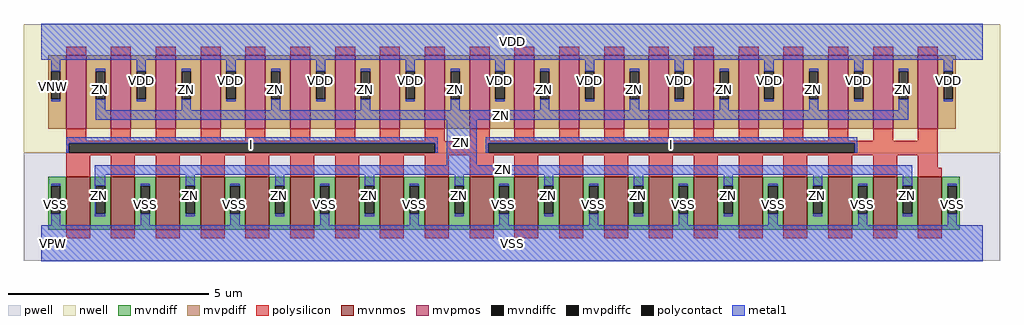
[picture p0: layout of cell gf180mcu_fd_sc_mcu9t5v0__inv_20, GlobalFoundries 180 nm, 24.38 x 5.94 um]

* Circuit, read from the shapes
.subckt gf180mcu_fd_sc_mcu9t5v0__inv_20 I ZN VDD VNW VPW VSS
XM1 ZN I VSS VPW nfet_06v0 w=1.32u l=0.6u m=20
XM2 ZN I VDD VNW pfet_06v0 w=1.83u l=0.5u m=20
.ends

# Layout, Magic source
magic
tech gf180mcuD
magscale 1 10
<< nwell >>
rect -86 453 4790 1094
<< pwell >>
rect -86 -86 4790 453
<< mvnmos >>
rect 124 69 244 333
rect 348 69 468 333
rect 572 69 692 333
rect 796 69 916 333
rect 1020 69 1140 333
rect 1244 69 1364 333
rect 1468 69 1588 333
rect 1692 69 1812 333
rect 1916 69 2036 333
rect 2140 69 2260 333
rect 2364 69 2484 333
rect 2588 69 2708 333
rect 2812 69 2932 333
rect 3036 69 3156 333
rect 3260 69 3380 333
rect 3484 69 3604 333
rect 3708 69 3828 333
rect 3932 69 4052 333
rect 4156 69 4276 333
rect 4380 69 4500 333
<< mvpmos >>
rect 124 573 224 939
rect 348 573 448 939
rect 572 573 672 939
rect 796 573 896 939
rect 1020 573 1120 939
rect 1244 573 1344 939
rect 1468 573 1568 939
rect 1692 573 1792 939
rect 1916 573 2016 939
rect 2140 573 2240 939
rect 2364 573 2464 939
rect 2588 573 2688 939
rect 2812 573 2912 939
rect 3036 573 3136 939
rect 3260 573 3360 939
rect 3484 573 3584 939
rect 3708 573 3808 939
rect 3932 573 4032 939
rect 4156 573 4256 939
rect 4380 573 4480 939
<< mvndiff >>
rect 36 287 124 333
rect 36 147 49 287
rect 95 147 124 287
rect 36 69 124 147
rect 244 287 348 333
rect 244 147 273 287
rect 319 147 348 287
rect 244 69 348 147
rect 468 287 572 333
rect 468 147 497 287
rect 543 147 572 287
rect 468 69 572 147
rect 692 287 796 333
rect 692 147 721 287
rect 767 147 796 287
rect 692 69 796 147
rect 916 287 1020 333
rect 916 147 945 287
rect 991 147 1020 287
rect 916 69 1020 147
rect 1140 287 1244 333
rect 1140 147 1169 287
rect 1215 147 1244 287
rect 1140 69 1244 147
rect 1364 287 1468 333
rect 1364 147 1393 287
rect 1439 147 1468 287
rect 1364 69 1468 147
rect 1588 287 1692 333
rect 1588 147 1617 287
rect 1663 147 1692 287
rect 1588 69 1692 147
rect 1812 287 1916 333
rect 1812 147 1841 287
rect 1887 147 1916 287
rect 1812 69 1916 147
rect 2036 287 2140 333
rect 2036 147 2065 287
rect 2111 147 2140 287
rect 2036 69 2140 147
rect 2260 287 2364 333
rect 2260 147 2289 287
rect 2335 147 2364 287
rect 2260 69 2364 147
rect 2484 287 2588 333
rect 2484 147 2513 287
rect 2559 147 2588 287
rect 2484 69 2588 147
rect 2708 287 2812 333
rect 2708 147 2737 287
rect 2783 147 2812 287
rect 2708 69 2812 147
rect 2932 287 3036 333
rect 2932 147 2961 287
rect 3007 147 3036 287
rect 2932 69 3036 147
rect 3156 287 3260 333
rect 3156 147 3185 287
rect 3231 147 3260 287
rect 3156 69 3260 147
rect 3380 287 3484 333
rect 3380 147 3409 287
rect 3455 147 3484 287
rect 3380 69 3484 147
rect 3604 287 3708 333
rect 3604 147 3633 287
rect 3679 147 3708 287
rect 3604 69 3708 147
rect 3828 287 3932 333
rect 3828 147 3857 287
rect 3903 147 3932 287
rect 3828 69 3932 147
rect 4052 287 4156 333
rect 4052 147 4081 287
rect 4127 147 4156 287
rect 4052 69 4156 147
rect 4276 287 4380 333
rect 4276 147 4305 287
rect 4351 147 4380 287
rect 4276 69 4380 147
rect 4500 287 4588 333
rect 4500 147 4529 287
rect 4575 147 4588 287
rect 4500 69 4588 147
<< mvpdiff >>
rect 36 861 124 939
rect 36 721 49 861
rect 95 721 124 861
rect 36 573 124 721
rect 224 861 348 939
rect 224 721 273 861
rect 319 721 348 861
rect 224 573 348 721
rect 448 861 572 939
rect 448 721 477 861
rect 523 721 572 861
rect 448 573 572 721
rect 672 861 796 939
rect 672 721 701 861
rect 747 721 796 861
rect 672 573 796 721
rect 896 861 1020 939
rect 896 721 925 861
rect 971 721 1020 861
rect 896 573 1020 721
rect 1120 861 1244 939
rect 1120 721 1149 861
rect 1195 721 1244 861
rect 1120 573 1244 721
rect 1344 861 1468 939
rect 1344 721 1373 861
rect 1419 721 1468 861
rect 1344 573 1468 721
rect 1568 861 1692 939
rect 1568 721 1597 861
rect 1643 721 1692 861
rect 1568 573 1692 721
rect 1792 861 1916 939
rect 1792 721 1821 861
rect 1867 721 1916 861
rect 1792 573 1916 721
rect 2016 861 2140 939
rect 2016 721 2045 861
rect 2091 721 2140 861
rect 2016 573 2140 721
rect 2240 861 2364 939
rect 2240 721 2269 861
rect 2315 721 2364 861
rect 2240 573 2364 721
rect 2464 861 2588 939
rect 2464 721 2493 861
rect 2539 721 2588 861
rect 2464 573 2588 721
rect 2688 861 2812 939
rect 2688 721 2717 861
rect 2763 721 2812 861
rect 2688 573 2812 721
rect 2912 861 3036 939
rect 2912 721 2941 861
rect 2987 721 3036 861
rect 2912 573 3036 721
rect 3136 861 3260 939
rect 3136 721 3165 861
rect 3211 721 3260 861
rect 3136 573 3260 721
rect 3360 861 3484 939
rect 3360 721 3389 861
rect 3435 721 3484 861
rect 3360 573 3484 721
rect 3584 861 3708 939
rect 3584 721 3613 861
rect 3659 721 3708 861
rect 3584 573 3708 721
rect 3808 861 3932 939
rect 3808 721 3837 861
rect 3883 721 3932 861
rect 3808 573 3932 721
rect 4032 861 4156 939
rect 4032 721 4061 861
rect 4107 721 4156 861
rect 4032 573 4156 721
rect 4256 861 4380 939
rect 4256 721 4285 861
rect 4331 721 4380 861
rect 4256 573 4380 721
rect 4480 861 4568 939
rect 4480 721 4509 861
rect 4555 721 4568 861
rect 4480 573 4568 721
<< mvndiffc >>
rect 49 147 95 287
rect 273 147 319 287
rect 497 147 543 287
rect 721 147 767 287
rect 945 147 991 287
rect 1169 147 1215 287
rect 1393 147 1439 287
rect 1617 147 1663 287
rect 1841 147 1887 287
rect 2065 147 2111 287
rect 2289 147 2335 287
rect 2513 147 2559 287
rect 2737 147 2783 287
rect 2961 147 3007 287
rect 3185 147 3231 287
rect 3409 147 3455 287
rect 3633 147 3679 287
rect 3857 147 3903 287
rect 4081 147 4127 287
rect 4305 147 4351 287
rect 4529 147 4575 287
<< mvpdiffc >>
rect 49 721 95 861
rect 273 721 319 861
rect 477 721 523 861
rect 701 721 747 861
rect 925 721 971 861
rect 1149 721 1195 861
rect 1373 721 1419 861
rect 1597 721 1643 861
rect 1821 721 1867 861
rect 2045 721 2091 861
rect 2269 721 2315 861
rect 2493 721 2539 861
rect 2717 721 2763 861
rect 2941 721 2987 861
rect 3165 721 3211 861
rect 3389 721 3435 861
rect 3613 721 3659 861
rect 3837 721 3883 861
rect 4061 721 4107 861
rect 4285 721 4331 861
rect 4509 721 4555 861
<< polysilicon >>
rect 124 939 224 983
rect 348 939 448 983
rect 572 939 672 983
rect 796 939 896 983
rect 1020 939 1120 983
rect 1244 939 1344 983
rect 1468 939 1568 983
rect 1692 939 1792 983
rect 1916 939 2016 983
rect 2140 939 2240 983
rect 2364 939 2464 983
rect 2588 939 2688 983
rect 2812 939 2912 983
rect 3036 939 3136 983
rect 3260 939 3360 983
rect 3484 939 3584 983
rect 3708 939 3808 983
rect 3932 939 4032 983
rect 4156 939 4256 983
rect 4380 939 4480 983
rect 124 513 224 573
rect 348 513 448 573
rect 572 513 672 573
rect 796 513 896 573
rect 1020 513 1120 573
rect 1244 513 1344 573
rect 1468 513 1568 573
rect 1692 513 1792 573
rect 1916 513 2016 573
rect 124 511 2016 513
rect 2140 513 2240 573
rect 2364 513 2464 573
rect 2588 513 2688 573
rect 2812 513 2912 573
rect 3036 513 3136 573
rect 3260 513 3360 573
rect 3484 513 3584 573
rect 3708 513 3808 573
rect 3932 513 4032 573
rect 4156 513 4256 573
rect 4380 513 4480 573
rect 2140 511 4480 513
rect 124 500 4480 511
rect 124 454 137 500
rect 1969 454 2233 500
rect 4065 454 4480 500
rect 124 441 4480 454
rect 124 333 244 441
rect 348 333 468 441
rect 572 333 692 441
rect 796 333 916 441
rect 1020 333 1140 441
rect 1244 333 1364 441
rect 1468 333 1588 441
rect 1692 333 1812 441
rect 1916 333 2036 441
rect 2140 333 2260 441
rect 2364 333 2484 441
rect 2588 333 2708 441
rect 2812 333 2932 441
rect 3036 333 3156 441
rect 3260 333 3380 441
rect 3484 333 3604 441
rect 3708 333 3828 441
rect 3932 333 4052 441
rect 4156 333 4276 441
rect 4380 377 4480 441
rect 4380 333 4500 377
rect 124 25 244 69
rect 348 25 468 69
rect 572 25 692 69
rect 796 25 916 69
rect 1020 25 1140 69
rect 1244 25 1364 69
rect 1468 25 1588 69
rect 1692 25 1812 69
rect 1916 25 2036 69
rect 2140 25 2260 69
rect 2364 25 2484 69
rect 2588 25 2708 69
rect 2812 25 2932 69
rect 3036 25 3156 69
rect 3260 25 3380 69
rect 3484 25 3604 69
rect 3708 25 3828 69
rect 3932 25 4052 69
rect 4156 25 4276 69
rect 4380 25 4500 69
<< polycontact >>
rect 137 454 1969 500
rect 2233 454 4065 500
<< metal1 >>
rect 0 918 4704 1098
rect 49 861 95 918
rect 49 710 95 721
rect 273 861 319 872
rect 273 664 319 721
rect 477 861 523 918
rect 477 710 523 721
rect 701 861 747 872
rect 701 664 747 721
rect 925 861 971 918
rect 925 710 971 721
rect 1149 861 1195 872
rect 1149 664 1195 721
rect 1373 861 1419 918
rect 1373 710 1419 721
rect 1597 861 1643 872
rect 1597 664 1643 721
rect 1821 861 1867 918
rect 1821 710 1867 721
rect 2045 861 2091 872
rect 2045 664 2091 721
rect 2269 861 2315 918
rect 2269 710 2315 721
rect 2493 861 2539 872
rect 2493 664 2539 721
rect 2717 861 2763 918
rect 2717 710 2763 721
rect 2941 861 2987 872
rect 2941 664 2987 721
rect 3165 861 3211 918
rect 3165 710 3211 721
rect 3389 861 3435 872
rect 3389 664 3435 721
rect 3613 861 3659 918
rect 3613 710 3659 721
rect 3837 861 3883 872
rect 3837 664 3883 721
rect 4061 861 4107 918
rect 4061 710 4107 721
rect 4285 861 4331 872
rect 4285 664 4331 721
rect 4509 861 4555 918
rect 4509 710 4555 721
rect 273 618 4331 664
rect 126 500 1980 530
rect 126 454 137 500
rect 1969 454 1980 500
rect 2026 390 2176 618
rect 2222 500 4076 530
rect 2222 454 2233 500
rect 4065 454 4076 500
rect 267 344 4351 390
rect 49 287 95 298
rect 49 90 95 147
rect 267 287 319 344
rect 267 147 273 287
rect 267 136 319 147
rect 497 287 543 298
rect 497 90 543 147
rect 721 287 767 344
rect 721 136 767 147
rect 945 287 991 298
rect 945 90 991 147
rect 1169 287 1215 344
rect 1169 136 1215 147
rect 1393 287 1439 298
rect 1393 90 1439 147
rect 1617 287 1663 344
rect 1617 136 1663 147
rect 1841 287 1887 298
rect 1841 90 1887 147
rect 2065 287 2111 344
rect 2065 136 2111 147
rect 2289 287 2335 298
rect 2289 90 2335 147
rect 2513 287 2559 344
rect 2513 136 2559 147
rect 2737 287 2783 298
rect 2737 90 2783 147
rect 2961 287 3007 344
rect 2961 136 3007 147
rect 3185 287 3231 298
rect 3185 90 3231 147
rect 3409 287 3455 344
rect 3409 136 3455 147
rect 3633 287 3679 298
rect 3633 90 3679 147
rect 3857 287 3903 344
rect 3857 136 3903 147
rect 4081 287 4127 298
rect 4081 90 4127 147
rect 4305 287 4351 344
rect 4305 136 4351 147
rect 4529 287 4575 298
rect 4529 90 4575 147
rect 0 -90 4704 90
<< labels >>
flabel metal1 s 126 454 1980 530 0 FreeSans 200 0 0 0 I
port 1 nsew default input
flabel metal1 s 0 918 4704 1098 0 FreeSans 200 0 0 0 VDD
port 3 nsew power bidirectional abutment
flabel metal1 s 4529 90 4575 298 0 FreeSans 200 0 0 0 VSS
port 6 nsew ground bidirectional abutment
flabel metal1 s 4285 664 4331 872 0 FreeSans 200 0 0 0 ZN
port 2 nsew default output
flabel nwell s 10 734 110 834 0 FreeSans 400 0 0 0 VNW
port 4 nsew power bidirectional
flabel pwell s 10 -50 110 50 0 FreeSans 400 0 0 0 VPW
port 5 nsew ground bidirectional
rlabel metal1 s 2222 454 4076 530 1 I
port 1 nsew default input
rlabel metal1 s 3837 664 3883 872 1 ZN
port 2 nsew default output
rlabel metal1 s 3389 664 3435 872 1 ZN
port 2 nsew default output
rlabel metal1 s 2941 664 2987 872 1 ZN
port 2 nsew default output
rlabel metal1 s 2493 664 2539 872 1 ZN
port 2 nsew default output
rlabel metal1 s 2045 664 2091 872 1 ZN
port 2 nsew default output
rlabel metal1 s 1597 664 1643 872 1 ZN
port 2 nsew default output
rlabel metal1 s 1149 664 1195 872 1 ZN
port 2 nsew default output
rlabel metal1 s 701 664 747 872 1 ZN
port 2 nsew default output
rlabel metal1 s 273 664 319 872 1 ZN
port 2 nsew default output
rlabel metal1 s 273 618 4331 664 1 ZN
port 2 nsew default output
rlabel metal1 s 2026 390 2176 618 1 ZN
port 2 nsew default output
rlabel metal1 s 267 344 4351 390 1 ZN
port 2 nsew default output
rlabel metal1 s 4305 136 4351 344 1 ZN
port 2 nsew default output
rlabel metal1 s 3857 136 3903 344 1 ZN
port 2 nsew default output
rlabel metal1 s 3409 136 3455 344 1 ZN
port 2 nsew default output
rlabel metal1 s 2961 136 3007 344 1 ZN
port 2 nsew default output
rlabel metal1 s 2513 136 2559 344 1 ZN
port 2 nsew default output
rlabel metal1 s 2065 136 2111 344 1 ZN
port 2 nsew default output
rlabel metal1 s 1617 136 1663 344 1 ZN
port 2 nsew default output
rlabel metal1 s 1169 136 1215 344 1 ZN
port 2 nsew default output
rlabel metal1 s 721 136 767 344 1 ZN
port 2 nsew default output
rlabel metal1 s 267 136 319 344 1 ZN
port 2 nsew default output
rlabel metal1 s 4509 710 4555 918 1 VDD
port 3 nsew power bidirectional abutment
rlabel metal1 s 4061 710 4107 918 1 VDD
port 3 nsew power bidirectional abutment
rlabel metal1 s 3613 710 3659 918 1 VDD
port 3 nsew power bidirectional abutment
rlabel metal1 s 3165 710 3211 918 1 VDD
port 3 nsew power bidirectional abutment
rlabel metal1 s 2717 710 2763 918 1 VDD
port 3 nsew power bidirectional abutment
rlabel metal1 s 2269 710 2315 918 1 VDD
port 3 nsew power bidirectional abutment
rlabel metal1 s 1821 710 1867 918 1 VDD
port 3 nsew power bidirectional abutment
rlabel metal1 s 1373 710 1419 918 1 VDD
port 3 nsew power bidirectional abutment
rlabel metal1 s 925 710 971 918 1 VDD
port 3 nsew power bidirectional abutment
rlabel metal1 s 477 710 523 918 1 VDD
port 3 nsew power bidirectional abutment
rlabel metal1 s 49 710 95 918 1 VDD
port 3 nsew power bidirectional abutment
rlabel metal1 s 4081 90 4127 298 1 VSS
port 6 nsew ground bidirectional abutment
rlabel metal1 s 3633 90 3679 298 1 VSS
port 6 nsew ground bidirectional abutment
rlabel metal1 s 3185 90 3231 298 1 VSS
port 6 nsew ground bidirectional abutment
rlabel metal1 s 2737 90 2783 298 1 VSS
port 6 nsew ground bidirectional abutment
rlabel metal1 s 2289 90 2335 298 1 VSS
port 6 nsew ground bidirectional abutment
rlabel metal1 s 1841 90 1887 298 1 VSS
port 6 nsew ground bidirectional abutment
rlabel metal1 s 1393 90 1439 298 1 VSS
port 6 nsew ground bidirectional abutment
rlabel metal1 s 945 90 991 298 1 VSS
port 6 nsew ground bidirectional abutment
rlabel metal1 s 497 90 543 298 1 VSS
port 6 nsew ground bidirectional abutment
rlabel metal1 s 49 90 95 298 1 VSS
port 6 nsew ground bidirectional abutment
rlabel metal1 s 0 -90 4704 90 1 VSS
port 6 nsew ground bidirectional abutment
<< properties >>
string FIXED_BBOX 0 0 4704 1008
string GDS_END 917930
string GDS_FILE $PDKPATH/libs.ref/gf180mcu_fd_sc_mcu9t5v0/gds/gf180mcu_fd_sc_mcu9t5v0.gds
string GDS_START 905748
string LEFclass core
string LEFsite GF018hv5v_green_sc9
string LEFsymmetry X Y
<< end >>
